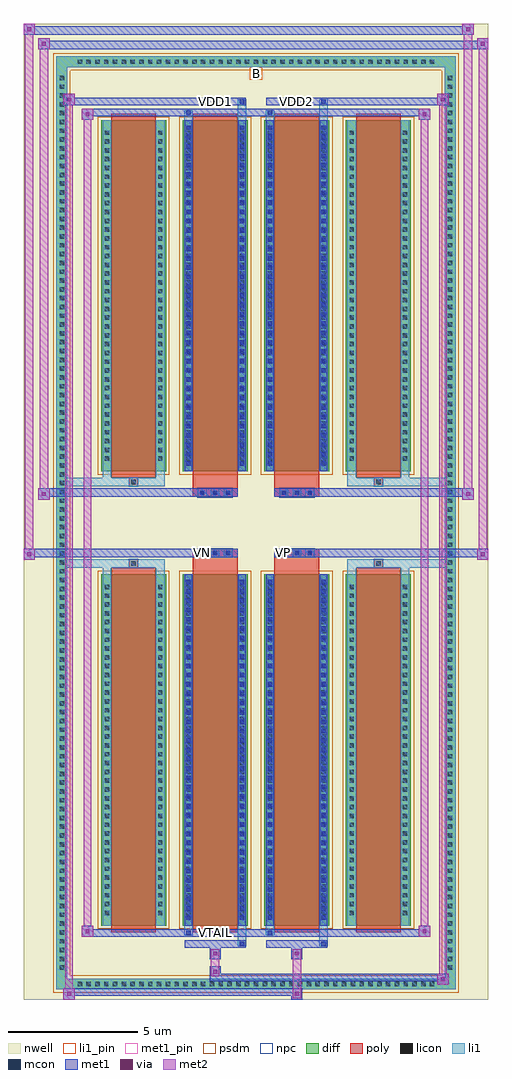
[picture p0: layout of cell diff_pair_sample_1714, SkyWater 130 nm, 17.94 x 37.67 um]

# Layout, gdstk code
import gdstk
lib = gdstk.Library(unit=1e-6, precision=5e-09)
def R(c, l, rs):  # rectangles x0, y0, x1, y1
    for r in rs: c.add(gdstk.rectangle(r[:2], r[2:], *l))
def A(c, l, x, y, w, h, nx, ny, dx, dy):  # array of equal rectangles
    R(c, l, [(x+i*dx, y+j*dy, x+i*dx+w, y+j*dy+h) for i in range(nx) for j in range(ny)])
def P(c, l, *ps):  # polygons
    for p in ps: c.add(gdstk.Polygon(p, *l))
nwell = (64, 20)
diff = (65, 20)
poly = (66, 20)
licon = (66, 44)
li1_pin = (67, 16)
li1 = (67, 20)
mcon = (67, 44)
met1_pin = (68, 16)
met1 = (68, 20)
via = (68, 44)
met2 = (69, 20)
psdm = (94, 20)
npc = (95, 20)

diff_pair_sample_1714 = lib.new_cell('diff_pair_sample_1714')
R(diff_pair_sample_1714, nwell, [(-8.97,-18.4,8.97,19.27), (-6.29,-16.59,-0.01,-0.795), (0.01,-16.59,6.29,-0.795), (-6.29,0.795,-0.01,16.59), (0.01,0.795,6.29,16.59)])
A(diff_pair_sample_1714, diff, -7.005, -18, 0.41, 0.41, 41, 2, 0.34, 35.59)
A(diff_pair_sample_1714, diff, -7.7, -17.375, 0.41, 0.41, 1, 102, 0, 0.34)
A(diff_pair_sample_1714, diff, 7.29, -17.375, 0.41, 0.41, 1, 102, 0, 0.34)
A(diff_pair_sample_1714, diff, -5.98, -15.545, 2.51, 13.56, 4, 2, 3.15, 17.53)
R(diff_pair_sample_1714, diff, [(-7.005,-18,7.005,-17.59), (-7.7,-17.375,-7.29,17.375), (7.29,-17.375,7.7,17.375), (-7.005,17.59,7.005,18)])
P(diff_pair_sample_1714, diff, [(7.7,18),(-7.7,18),(-7.7,-17.59),(-7.29,-17.59),(-7.29,17.59),(7.29,17.59),(7.29,-17.59),(-7.29,-17.59),(-7.7,-17.59),(-7.7,-18),(7.7,-18)])
A(diff_pair_sample_1714, poly, -5.59, -15.795, 1.73, 14.06, 4, 2, 3.15, 17.53)
A(diff_pair_sample_1714, poly, -2.24, -1.325, 0.33, 0.33, 3, 2, 0.5, 2.32)
A(diff_pair_sample_1714, poly, 0.91, -1.325, 0.33, 0.33, 3, 2, 0.5, 2.32)
R(diff_pair_sample_1714, poly, [(-4.89,-1.735,-4.56,-1.405), (-4.89,-1.735,-4.56,-1.405), (-2.44,-1.735,-0.71,-1.325), (0.71,-1.735,2.44,-1.325), (4.56,-1.735,4.89,-1.405), (4.56,-1.735,4.89,-1.405), (-2.44,-1.325,-0.71,-0.995), (0.71,-1.325,2.44,-0.995), (-2.44,0.995,-0.71,1.325), (0.71,0.995,2.44,1.325), (-2.44,1.325,-0.71,1.735), (0.71,1.325,2.44,1.735), (-4.89,1.405,-4.56,1.735), (-4.89,1.405,-4.56,1.735), (4.56,1.405,4.89,1.735), (4.56,1.405,4.89,1.735)])
A(diff_pair_sample_1714, licon, -6.885, -17.88, 0.17, 0.17, 41, 2, 0.34, 35.59)
A(diff_pair_sample_1714, licon, -7.58, -17.255, 0.17, 0.17, 1, 102, 0, 0.34)
A(diff_pair_sample_1714, licon, 7.41, -17.255, 0.17, 0.17, 1, 102, 0, 0.34)
A(diff_pair_sample_1714, licon, -5.84, -15.14, 0.17, 0.17, 1, 38, 0, 0.34)
A(diff_pair_sample_1714, licon, -3.78, -15.14, 0.17, 0.17, 1, 38, 0, 0.34)
A(diff_pair_sample_1714, licon, -2.69, -15.14, 0.17, 0.17, 1, 38, 0, 0.34)
A(diff_pair_sample_1714, licon, -0.63, -15.14, 0.17, 0.17, 1, 38, 0, 0.34)
A(diff_pair_sample_1714, licon, 0.46, -15.14, 0.17, 0.17, 1, 38, 0, 0.34)
A(diff_pair_sample_1714, licon, 2.52, -15.14, 0.17, 0.17, 1, 38, 0, 0.34)
A(diff_pair_sample_1714, licon, 3.61, -15.14, 0.17, 0.17, 1, 38, 0, 0.34)
A(diff_pair_sample_1714, licon, 5.67, -15.14, 0.17, 0.17, 1, 38, 0, 0.34)
A(diff_pair_sample_1714, licon, -2.16, -1.245, 0.17, 0.17, 3, 2, 0.5, 2.32)
A(diff_pair_sample_1714, licon, 0.99, -1.245, 0.17, 0.17, 3, 2, 0.5, 2.32)
A(diff_pair_sample_1714, licon, -5.84, 2.39, 0.17, 0.17, 1, 38, 0, 0.34)
A(diff_pair_sample_1714, licon, -3.78, 2.39, 0.17, 0.17, 1, 38, 0, 0.34)
A(diff_pair_sample_1714, licon, -2.69, 2.39, 0.17, 0.17, 1, 38, 0, 0.34)
A(diff_pair_sample_1714, licon, -0.63, 2.39, 0.17, 0.17, 1, 38, 0, 0.34)
A(diff_pair_sample_1714, licon, 0.46, 2.39, 0.17, 0.17, 1, 38, 0, 0.34)
A(diff_pair_sample_1714, licon, 2.52, 2.39, 0.17, 0.17, 1, 38, 0, 0.34)
A(diff_pair_sample_1714, licon, 3.61, 2.39, 0.17, 0.17, 1, 38, 0, 0.34)
A(diff_pair_sample_1714, licon, 5.67, 2.39, 0.17, 0.17, 1, 38, 0, 0.34)
R(diff_pair_sample_1714, licon, [(-4.81,-1.655,-4.64,-1.485), (4.64,-1.655,4.81,-1.485), (-4.81,1.485,-4.64,1.655), (4.64,1.485,4.81,1.655)])
R(diff_pair_sample_1714, li1_pin, [(-0.25,17.09,0.25,17.59)])
A(diff_pair_sample_1714, li1, -6.965, -17.96, 0.33, 0.33, 41, 2, 0.34, 35.59)
A(diff_pair_sample_1714, li1, -7.66, -17.335, 0.33, 0.33, 1, 102, 0, 0.34)
A(diff_pair_sample_1714, li1, 7.33, -17.335, 0.33, 0.33, 1, 102, 0, 0.34)
A(diff_pair_sample_1714, li1, -2.69, -15.33, 0.17, 0.17, 1, 37, 0, 0.36)
A(diff_pair_sample_1714, li1, -0.63, -15.33, 0.17, 0.17, 1, 37, 0, 0.36)
A(diff_pair_sample_1714, li1, 0.46, -15.33, 0.17, 0.17, 1, 37, 0, 0.36)
A(diff_pair_sample_1714, li1, 2.52, -15.33, 0.17, 0.17, 1, 37, 0, 0.36)
A(diff_pair_sample_1714, li1, -5.92, -15.22, 0.33, 0.33, 1, 38, 0, 0.34)
A(diff_pair_sample_1714, li1, -3.86, -15.22, 0.33, 0.33, 1, 38, 0, 0.34)
A(diff_pair_sample_1714, li1, -2.77, -15.22, 0.33, 0.33, 1, 38, 0, 0.34)
A(diff_pair_sample_1714, li1, -0.71, -15.22, 0.33, 0.33, 1, 38, 0, 0.34)
A(diff_pair_sample_1714, li1, 0.38, -15.22, 0.33, 0.33, 1, 38, 0, 0.34)
A(diff_pair_sample_1714, li1, 2.44, -15.22, 0.33, 0.33, 1, 38, 0, 0.34)
A(diff_pair_sample_1714, li1, 3.53, -15.22, 0.33, 0.33, 1, 38, 0, 0.34)
A(diff_pair_sample_1714, li1, 5.59, -15.22, 0.33, 0.33, 1, 38, 0, 0.34)
A(diff_pair_sample_1714, li1, -2.24, -1.325, 0.33, 0.33, 3, 2, 0.5, 2.32)
A(diff_pair_sample_1714, li1, 0.91, -1.325, 0.33, 0.33, 3, 2, 0.5, 2.32)
A(diff_pair_sample_1714, li1, -2.69, 2.2, 0.17, 0.17, 1, 37, 0, 0.36)
A(diff_pair_sample_1714, li1, -0.63, 2.2, 0.17, 0.17, 1, 37, 0, 0.36)
A(diff_pair_sample_1714, li1, 0.46, 2.2, 0.17, 0.17, 1, 37, 0, 0.36)
A(diff_pair_sample_1714, li1, 2.52, 2.2, 0.17, 0.17, 1, 37, 0, 0.36)
A(diff_pair_sample_1714, li1, -5.92, 2.31, 0.33, 0.33, 1, 38, 0, 0.34)
A(diff_pair_sample_1714, li1, -3.86, 2.31, 0.33, 0.33, 1, 38, 0, 0.34)
A(diff_pair_sample_1714, li1, -2.77, 2.31, 0.33, 0.33, 1, 38, 0, 0.34)
A(diff_pair_sample_1714, li1, -0.71, 2.31, 0.33, 0.33, 1, 38, 0, 0.34)
A(diff_pair_sample_1714, li1, 0.38, 2.31, 0.33, 0.33, 1, 38, 0, 0.34)
A(diff_pair_sample_1714, li1, 2.44, 2.31, 0.33, 0.33, 1, 38, 0, 0.34)
A(diff_pair_sample_1714, li1, 3.53, 2.31, 0.33, 0.33, 1, 38, 0, 0.34)
A(diff_pair_sample_1714, li1, 5.59, 2.31, 0.33, 0.33, 1, 38, 0, 0.34)
R(diff_pair_sample_1714, li1, [(-7.7,-18,-7.29,-17.59), (-7.7,-18,-7.29,-17.59), (-7.29,-18,7.29,-17.59), (7.29,-18,7.7,-17.59), (7.29,-18,7.7,-17.59), (-7.7,-17.59,-7.29,17.59), (7.29,-17.59,7.7,17.59), (-0.71,-16.35,-0.38,-15.545), (-0.63,-16.35,-0.46,-16.18), (2.44,-16.35,2.77,-15.545), (2.52,-16.35,2.69,-16.18), (-2.77,-15.92,-2.44,-15.545), (-2.69,-15.92,-2.52,-15.75), (0.38,-15.92,0.71,-15.545), (0.46,-15.92,0.63,-15.75), (-5.92,-15.545,-5.59,-1.985), (-3.86,-15.545,-3.53,-1.985), (-2.77,-15.545,-2.44,-1.985), (-0.71,-15.545,-0.38,-1.985), (0.38,-15.545,0.71,-1.985), (2.44,-15.545,2.77,-1.985), (3.53,-15.545,3.86,-1.985), (5.59,-15.545,5.92,-1.985), (-2.69,-15.33,-2.52,-2.2), (-0.63,-15.33,-0.46,-2.2), (0.46,-15.33,0.63,-2.2), (2.52,-15.33,2.69,-2.2), (-5.92,-1.985,-5.59,-1.405), (-3.86,-1.985,-3.53,-1.405), (3.53,-1.985,3.86,-1.405), (5.59,-1.985,5.92,-1.405), (-7.7,-1.735,-4.89,-1.405), (-5.92,-1.735,-4.89,-1.405), (-4.89,-1.735,-4.56,-1.405), (-4.56,-1.735,-3.53,-1.405), (3.53,-1.735,4.56,-1.405), (4.56,-1.735,4.89,-1.405), (4.56,-1.735,7.7,-1.405), (4.89,-1.735,5.92,-1.405), (-7.7,1.405,-4.89,1.735), (-5.92,1.405,-4.89,1.735), (-5.92,1.405,-5.59,1.985), (-4.89,1.405,-4.56,1.735), (-4.56,1.405,-3.53,1.735), (-3.86,1.405,-3.53,1.985), (3.53,1.405,4.56,1.735), (3.53,1.405,3.86,1.985), (4.56,1.405,4.89,1.735), (4.56,1.405,7.7,1.735), (4.89,1.405,5.92,1.735), (5.59,1.405,5.92,1.985), (-5.92,1.985,-5.59,15.545), (-3.86,1.985,-3.53,15.545), (-2.77,1.985,-2.44,15.545), (-0.71,1.985,-0.38,15.545), (0.38,1.985,0.71,15.545), (2.44,1.985,2.77,15.545), (3.53,1.985,3.86,15.545), (5.59,1.985,5.92,15.545), (-2.69,2.2,-2.52,15.33), (-0.63,2.2,-0.46,15.33), (0.46,2.2,0.63,15.33), (2.52,2.2,2.69,15.33), (-2.77,15.545,-2.44,15.92), (-0.71,15.545,-0.38,16.35), (0.38,15.545,0.71,15.92), (2.44,15.545,2.77,16.35), (-2.69,15.75,-2.52,15.92), (0.46,15.75,0.63,15.92), (-0.63,16.18,-0.46,16.35), (2.52,16.18,2.69,16.35), (-7.7,17.59,-7.29,18), (-7.7,17.59,-7.29,18), (-7.29,17.59,7.29,18), (7.29,17.59,7.7,18), (7.29,17.59,7.7,18)])
A(diff_pair_sample_1714, mcon, -2.69, -15.33, 0.17, 0.17, 1, 37, 0, 0.36)
A(diff_pair_sample_1714, mcon, -0.63, -15.33, 0.17, 0.17, 1, 37, 0, 0.36)
A(diff_pair_sample_1714, mcon, 0.46, -15.33, 0.17, 0.17, 1, 37, 0, 0.36)
A(diff_pair_sample_1714, mcon, 2.52, -15.33, 0.17, 0.17, 1, 37, 0, 0.36)
A(diff_pair_sample_1714, mcon, -2.16, -1.245, 0.17, 0.17, 3, 2, 0.5, 2.32)
A(diff_pair_sample_1714, mcon, 0.99, -1.245, 0.17, 0.17, 3, 2, 0.5, 2.32)
A(diff_pair_sample_1714, mcon, -2.69, 2.2, 0.17, 0.17, 1, 37, 0, 0.36)
A(diff_pair_sample_1714, mcon, -0.63, 2.2, 0.17, 0.17, 1, 37, 0, 0.36)
A(diff_pair_sample_1714, mcon, 0.46, 2.2, 0.17, 0.17, 1, 37, 0, 0.36)
A(diff_pair_sample_1714, mcon, 2.52, 2.2, 0.17, 0.17, 1, 37, 0, 0.36)
R(diff_pair_sample_1714, mcon, [(-0.63,-16.35,-0.46,-16.18), (2.52,-16.35,2.69,-16.18), (-2.69,-15.92,-2.52,-15.75), (0.46,-15.92,0.63,-15.75), (-2.69,15.75,-2.52,15.92), (0.46,15.75,0.63,15.92), (-0.63,16.18,-0.46,16.35), (2.52,16.18,2.69,16.35)])
R(diff_pair_sample_1714, met1_pin, [(-1.71,-15.96,-1.44,-15.69), (-2.21,-1.285,-1.94,-1.015), (0.94,-1.285,1.21,-1.015), (-1.71,16.14,-1.44,16.41), (1.44,16.14,1.71,16.41)])
A(diff_pair_sample_1714, met1, -2.75, -15.39, 0.29, 0.29, 1, 37, 0, 0.36)
A(diff_pair_sample_1714, met1, -0.69, -15.39, 0.29, 0.29, 1, 37, 0, 0.36)
A(diff_pair_sample_1714, met1, 0.4, -15.39, 0.29, 0.29, 1, 37, 0, 0.36)
A(diff_pair_sample_1714, met1, 2.46, -15.39, 0.29, 0.29, 1, 37, 0, 0.36)
A(diff_pair_sample_1714, met1, -2.22, -1.305, 0.29, 0.29, 3, 2, 0.5, 2.32)
A(diff_pair_sample_1714, met1, 0.93, -1.305, 0.29, 0.29, 3, 2, 0.5, 2.32)
A(diff_pair_sample_1714, met1, -2.75, 2.14, 0.29, 0.29, 1, 37, 0, 0.36)
A(diff_pair_sample_1714, met1, -0.69, 2.14, 0.29, 0.29, 1, 37, 0, 0.36)
A(diff_pair_sample_1714, met1, 0.4, 2.14, 0.29, 0.29, 1, 37, 0, 0.36)
A(diff_pair_sample_1714, met1, 2.46, 2.14, 0.29, 0.29, 1, 37, 0, 0.36)
R(diff_pair_sample_1714, met1, [(-7.43,-18.4,-7,-17.97), (1.36,-18.4,1.79,-17.97), (-7.43,-18.26,1.79,-17.97), (7,-17.83,7.43,-17.4), (-1.79,-17.69,7.43,-17.4), (-1.79,-17.55,-1.36,-17.12), (-1.79,-16.84,-1.36,-16.41), (1.36,-16.84,1.79,-16.41), (-2.75,-16.41,-0.4,-16.12), (-0.69,-16.41,-0.4,-16.12), (0.4,-16.41,2.75,-16.12), (2.46,-16.41,2.75,-16.12), (-6.72,-15.98,-6.29,-15.55), (-6.72,-15.98,-2.75,-15.69), (-2.75,-15.98,-2.46,-15.69), (-2.75,-15.98,-0.4,-15.69), (-0.4,-15.98,0.4,-15.69), (0.4,-15.98,0.69,-15.69), (0.4,-15.98,2.75,-15.69), (2.75,-15.98,6.72,-15.69), (6.29,-15.98,6.72,-15.55), (-2.75,-15.545,-2.46,-1.985), (-0.69,-15.545,-0.4,-1.985), (0.4,-15.545,0.69,-1.985), (2.46,-15.545,2.75,-1.985), (-8.97,-1.425,-8.54,-0.995), (8.54,-1.425,8.97,-0.995), (-8.97,-1.325,-0.71,-0.995), (-2.44,-1.325,-0.71,-0.995), (0.71,-1.325,2.44,-0.995), (0.71,-1.325,8.97,-0.995), (-8.4,0.895,-7.97,1.325), (7.97,0.895,8.4,1.325), (-8.4,0.995,-2.44,1.325), (-2.44,0.995,-0.71,1.325), (0.71,0.995,2.44,1.325), (2.44,0.995,8.4,1.325), (-2.75,1.985,-2.46,15.545), (-0.69,1.985,-0.4,15.545), (0.4,1.985,0.69,15.545), (2.46,1.985,2.75,15.545), (-6.72,15.55,-6.29,15.98), (6.29,15.55,6.72,15.98), (-6.72,15.69,-2.75,15.98), (-2.75,15.69,-2.46,15.98), (-2.75,15.69,-0.4,15.98), (-0.4,15.69,0.4,15.98), (0.4,15.69,0.69,15.98), (0.4,15.69,2.75,15.98), (2.75,15.69,6.72,15.98), (-7.43,16.12,-7,16.55), (-7.43,16.12,-2.75,16.41), (-2.75,16.12,-0.4,16.41), (-0.69,16.12,-0.4,16.41), (0.4,16.12,2.75,16.41), (2.46,16.12,2.75,16.41), (2.75,16.12,7.43,16.41), (7,16.12,7.43,16.55), (-8.4,18.27,-7.97,18.7), (-8.4,18.27,-6.29,18.6), (-6.29,18.27,6.29,18.6), (6.29,18.27,8.97,18.6), (8.54,18.27,8.97,18.7), (-8.97,18.84,-8.54,19.27), (-8.97,18.84,-6.29,19.17), (-6.29,18.84,6.29,19.17), (6.29,18.84,8.4,19.17), (7.97,18.84,8.4,19.27)])
R(diff_pair_sample_1714, via, [(-7.29,-18.26,-7.14,-18.11), (1.5,-18.26,1.65,-18.11), (7.14,-17.69,7.29,-17.54), (-1.65,-17.41,-1.5,-17.26), (-1.65,-16.7,-1.5,-16.55), (1.5,-16.7,1.65,-16.55), (-6.58,-15.84,-6.43,-15.69), (6.43,-15.84,6.58,-15.69), (-8.83,-1.285,-8.68,-1.135), (8.68,-1.285,8.83,-1.135), (-8.26,1.035,-8.11,1.185), (8.11,1.035,8.26,1.185), (-6.58,15.69,-6.43,15.84), (6.43,15.69,6.58,15.84), (-7.29,16.26,-7.14,16.41), (7.14,16.26,7.29,16.41), (-8.26,18.41,-8.11,18.56), (8.68,18.41,8.83,18.56), (-8.83,18.98,-8.68,19.13), (8.11,18.98,8.26,19.13)])
R(diff_pair_sample_1714, met2, [(-7.43,-18.4,-7,-17.97), (-7.36,-18.4,-7.07,16.55), (-7.07,-18.4,-7,-17.97), (-7.38,-18.35,-7.05,-18.02), (1.41,-18.35,1.74,-18.02), (1.41,-18.02,1.74,-16.79), (7,-17.83,7.43,-17.4), (7.07,-17.83,7.36,16.55), (7.36,-17.83,7.43,-17.4), (7.05,-17.78,7.38,-17.45), (-1.74,-17.5,-1.41,-17.17), (-1.74,-17.17,-1.41,-16.79), (-1.74,-16.79,-1.41,-16.46), (1.41,-16.79,1.74,-16.46), (-6.72,-15.98,-6.29,-15.55), (-6.65,-15.98,-6.36,15.98), (-6.36,-15.98,-6.29,-15.55), (6.29,-15.98,6.72,-15.55), (6.36,-15.98,6.65,15.98), (6.65,-15.98,6.72,-15.55), (-6.67,-15.93,-6.34,-15.6), (6.34,-15.93,6.67,-15.6), (-8.97,-1.425,-8.54,-0.995), (-8.92,-1.425,-8.59,19.27), (-8.59,-1.425,-8.54,-0.995), (8.54,-1.425,8.97,-0.995), (8.59,-1.425,8.92,18.7), (8.92,-1.425,8.97,-0.995), (-8.92,-1.375,-8.59,-1.045), (8.59,-1.375,8.92,-1.045), (-8.4,0.895,-7.97,1.325), (-8.35,0.895,-8.02,18.7), (-8.02,0.895,-7.97,1.325), (7.97,0.895,8.4,1.325), (8.02,0.895,8.35,19.27), (8.35,0.895,8.4,1.325), (-8.35,0.945,-8.02,1.275), (8.02,0.945,8.35,1.275), (-6.72,15.55,-6.29,15.98), (-6.36,15.55,-6.29,15.98), (6.29,15.55,6.72,15.98), (6.65,15.55,6.72,15.98), (-6.67,15.6,-6.34,15.93), (6.34,15.6,6.67,15.93), (-7.43,16.12,-7,16.55), (-7.07,16.12,-7,16.55), (7,16.12,7.43,16.55), (7.36,16.12,7.43,16.55), (-7.38,16.17,-7.05,16.5), (7.05,16.17,7.38,16.5), (-8.4,18.27,-7.97,18.7), (-8.02,18.27,-7.97,18.7), (8.54,18.27,8.97,18.7), (8.92,18.27,8.97,18.7), (-8.35,18.32,-8.02,18.65), (8.59,18.32,8.92,18.65), (-8.97,18.84,-8.54,19.27), (-8.59,18.84,-8.54,19.27), (7.97,18.84,8.4,19.27), (8.35,18.84,8.4,19.27), (-8.92,18.89,-8.59,19.22), (8.02,18.89,8.35,19.22)])
A(diff_pair_sample_1714, psdm, -6.11, -15.675, 2.77, 13.82, 4, 2, 3.15, 17.53)
P(diff_pair_sample_1714, psdm, [(7.83,18.13),(-7.83,18.13),(-7.83,-17.46),(-7.16,-17.46),(-7.16,17.46),(7.16,17.46),(7.16,-17.46),(-7.16,-17.46),(-7.83,-17.46),(-7.83,-18.13),(7.83,-18.13)])
A(diff_pair_sample_1714, npc, -2.26, -1.345, 0.37, 0.37, 3, 2, 0.5, 2.32)
A(diff_pair_sample_1714, npc, 0.89, -1.345, 0.37, 0.37, 3, 2, 0.5, 2.32)
R(diff_pair_sample_1714, npc, [(-4.91,-1.755,-4.54,-1.385), (4.54,-1.755,4.91,-1.385), (-2.26,-1.345,-1.39,-0.975), (-2.26,-1.345,-1.39,-0.975), (-1.76,-1.345,-0.89,-0.975), (-1.76,-1.345,-0.89,-0.975), (0.89,-1.345,1.76,-0.975), (0.89,-1.345,1.76,-0.975), (1.39,-1.345,2.26,-0.975), (1.39,-1.345,2.26,-0.975), (-2.26,0.975,-1.39,1.345), (-2.26,0.975,-1.39,1.345), (-1.76,0.975,-0.89,1.345), (-1.76,0.975,-0.89,1.345), (0.89,0.975,1.76,1.345), (0.89,0.975,1.76,1.345), (1.39,0.975,2.26,1.345), (1.39,0.975,2.26,1.345), (-4.91,1.385,-4.54,1.755), (4.54,1.385,4.91,1.755)])
diff_pair_sample_1714.add(gdstk.Label('VTAIL', (-1.575,-15.825), layer=68, texttype=5))
diff_pair_sample_1714.add(gdstk.Label('VN', (-2.075,-1.15), layer=68, texttype=5))
diff_pair_sample_1714.add(gdstk.Label('VP', (1.075,-1.15), layer=68, texttype=5))
diff_pair_sample_1714.add(gdstk.Label('B', (0,17.34), layer=67, texttype=5))
diff_pair_sample_1714.add(gdstk.Label('VDD2', (1.575,16.275), layer=68, texttype=5))
diff_pair_sample_1714.add(gdstk.Label('VDD1', (-1.575,16.275), layer=68, texttype=5))

lib.write_gds('diff_pair_sample_1714.gds')
